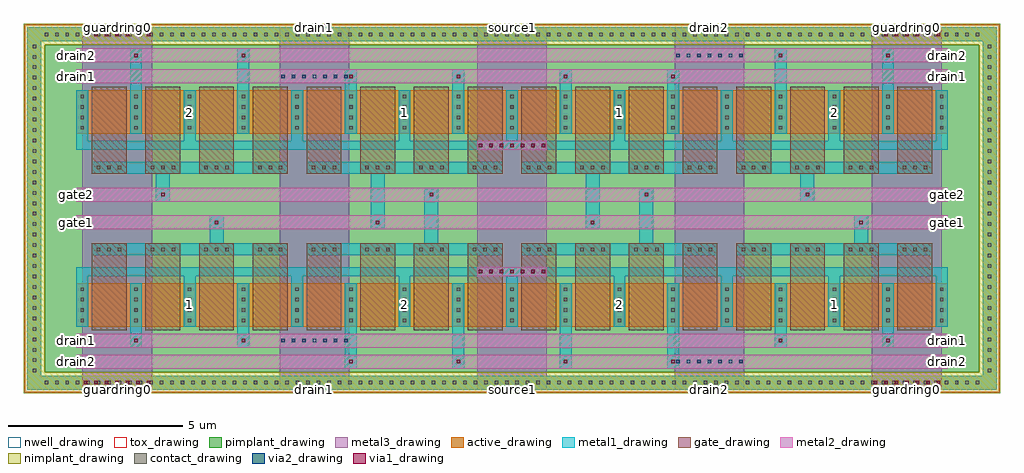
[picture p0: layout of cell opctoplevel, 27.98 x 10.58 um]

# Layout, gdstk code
import gdstk
lib = gdstk.Library(unit=1e-6, precision=1e-09)
def R(c, l, rs):  # rectangles x0, y0, x1, y1
    for r in rs: c.add(gdstk.rectangle(r[:2], r[2:], *l))
def A(c, l, x, y, w, h, nx, ny, dx, dy):  # array of equal rectangles
    R(c, l, [(x+i*dx, y+j*dy, x+i*dx+w, y+j*dy+h) for i in range(nx) for j in range(ny)])
active_drawing = (1, 0)
nwell_drawing = (3, 0)
pimplant_drawing = (4, 0)
nimplant_drawing = (5, 0)
gate_drawing = (6, 0)
contact_drawing = (7, 0)
metal1_drawing = (8, 0)
via1_drawing = (9, 0)
metal2_drawing = (10, 0)
via2_drawing = (11, 0)
metal3_drawing = (12, 0)
tox_drawing = (32, 0)

opctoplevel = lib.new_cell('opctoplevel')
A(opctoplevel, active_drawing, -0.44, 0, 6.5, 1.25, 4, 2, 6.16, 5.53)
R(opctoplevel, active_drawing, [(-1.84,-1.8,25.94,-1.4), (-1.84,-1.8,-1.44,8.58), (25.54,-1.8,25.94,8.58), (-1.84,8.18,25.94,8.58)])
R(opctoplevel, nwell_drawing, [(-1.94,-1.9,26.04,8.68)])
R(opctoplevel, pimplant_drawing, [(-1.34,-1.3,25.44,8.08)])
R(opctoplevel, nimplant_drawing, [(-1.94,-1.9,26.04,-1.3), (-1.94,-1.9,-1.34,8.68), (25.44,-1.9,26.04,8.68), (-1.94,8.08,26.04,8.68)])
A(opctoplevel, gate_drawing, 0, -0.1, 1, 2.49, 16, 2, 1.54, 4.49)
A(opctoplevel, contact_drawing, -1.35, -1.65, 0.1, 0.1, 90, 2, 0.3, 9.98)
A(opctoplevel, contact_drawing, -1.69, -1.31, 0.1, 0.1, 1, 32, 0, 0.3)
A(opctoplevel, contact_drawing, 25.69, -1.31, 0.1, 0.1, 1, 32, 0, 0.3)
A(opctoplevel, contact_drawing, -0.32, 0.125, 0.1, 0.1, 5, 4, 1.54, 0.3)
A(opctoplevel, contact_drawing, 5.84, 0.125, 0.1, 0.1, 5, 4, 1.54, 0.3)
A(opctoplevel, contact_drawing, 12, 0.125, 0.1, 0.1, 5, 4, 1.54, 0.3)
A(opctoplevel, contact_drawing, 18.16, 0.125, 0.1, 0.1, 5, 4, 1.54, 0.3)
A(opctoplevel, contact_drawing, 0.15, 2.17, 0.1, 0.1, 3, 2, 0.3, 2.34)
A(opctoplevel, contact_drawing, 1.69, 2.17, 0.1, 0.1, 3, 2, 0.3, 2.34)
A(opctoplevel, contact_drawing, 3.23, 2.17, 0.1, 0.1, 3, 2, 0.3, 2.34)
A(opctoplevel, contact_drawing, 4.77, 2.17, 0.1, 0.1, 3, 2, 0.3, 2.34)
A(opctoplevel, contact_drawing, 6.31, 2.17, 0.1, 0.1, 3, 2, 0.3, 2.34)
A(opctoplevel, contact_drawing, 7.85, 2.17, 0.1, 0.1, 3, 2, 0.3, 2.34)
A(opctoplevel, contact_drawing, 9.39, 2.17, 0.1, 0.1, 3, 2, 0.3, 2.34)
A(opctoplevel, contact_drawing, 10.93, 2.17, 0.1, 0.1, 3, 2, 0.3, 2.34)
A(opctoplevel, contact_drawing, 12.47, 2.17, 0.1, 0.1, 3, 2, 0.3, 2.34)
A(opctoplevel, contact_drawing, 14.01, 2.17, 0.1, 0.1, 3, 2, 0.3, 2.34)
A(opctoplevel, contact_drawing, 15.55, 2.17, 0.1, 0.1, 3, 2, 0.3, 2.34)
A(opctoplevel, contact_drawing, 17.09, 2.17, 0.1, 0.1, 3, 2, 0.3, 2.34)
A(opctoplevel, contact_drawing, 18.63, 2.17, 0.1, 0.1, 3, 2, 0.3, 2.34)
A(opctoplevel, contact_drawing, 20.17, 2.17, 0.1, 0.1, 3, 2, 0.3, 2.34)
A(opctoplevel, contact_drawing, 21.71, 2.17, 0.1, 0.1, 3, 2, 0.3, 2.34)
A(opctoplevel, contact_drawing, 23.25, 2.17, 0.1, 0.1, 3, 2, 0.3, 2.34)
A(opctoplevel, contact_drawing, -0.32, 5.655, 0.1, 0.1, 5, 4, 1.54, 0.3)
A(opctoplevel, contact_drawing, 5.84, 5.655, 0.1, 0.1, 5, 4, 1.54, 0.3)
A(opctoplevel, contact_drawing, 12, 5.655, 0.1, 0.1, 5, 4, 1.54, 0.3)
A(opctoplevel, contact_drawing, 18.16, 5.655, 0.1, 0.1, 5, 4, 1.54, 0.3)
A(opctoplevel, metal1_drawing, 7.26, -1.2, 0.34, 0.4, 4, 2, 3.08, 8.18)
A(opctoplevel, metal1_drawing, 7.26, -1.2, 0.34, 1.2, 4, 1, 3.08, 0)
A(opctoplevel, metal1_drawing, -0.44, 0, 0.34, 1.25, 5, 2, 1.54, 5.53)
A(opctoplevel, metal1_drawing, 5.72, 0, 0.34, 1.25, 5, 2, 1.54, 5.53)
A(opctoplevel, metal1_drawing, 11.88, 0, 0.34, 1.25, 5, 2, 1.54, 5.53)
A(opctoplevel, metal1_drawing, 18.04, 0, 0.34, 1.25, 5, 2, 1.54, 5.53)
A(opctoplevel, metal1_drawing, -0.44, 1.25, 0.34, 0.2, 3, 2, 3.08, 4.08)
A(opctoplevel, metal1_drawing, 5.72, 1.25, 0.34, 0.2, 3, 2, 3.08, 4.08)
A(opctoplevel, metal1_drawing, 11.88, 1.25, 0.34, 0.2, 3, 2, 3.08, 4.08)
A(opctoplevel, metal1_drawing, 18.04, 1.25, 0.34, 0.2, 3, 2, 3.08, 4.08)
A(opctoplevel, metal1_drawing, -0.44, 1.45, 6.5, 0.26, 4, 2, 6.16, 3.62)
A(opctoplevel, metal1_drawing, 0, 2.05, 5.62, 0.34, 4, 2, 6.16, 2.34)
A(opctoplevel, metal1_drawing, 3.38, 2.05, 0.4, 0.34, 4, 1, 6.16, 0)
A(opctoplevel, metal1_drawing, 1.84, 4.39, 0.4, 0.34, 4, 1, 6.16, 0)
A(opctoplevel, metal1_drawing, 7.26, 6.78, 0.34, 0.6, 4, 1, 3.08, 0)
R(opctoplevel, metal1_drawing, [(-1.84,-1.8,25.94,-1.4), (-1.84,-1.8,-1.44,8.58), (-0.27,-1.8,1.73,-1.4), (22.37,-1.8,24.37,-1.4), (25.54,-1.8,25.94,8.58), (1.1,-0.6,1.44,0), (1.1,-0.6,1.44,-0.2), (4.18,-0.6,4.52,0), (4.18,-0.6,4.52,-0.2), (19.58,-0.6,19.92,0), (19.58,-0.6,19.92,-0.2), (22.66,-0.6,23,0), (22.66,-0.6,23,-0.2), (11.05,1.45,13.05,1.71), (3.38,2.39,3.78,2.79), (9.54,2.39,9.94,3.59), (15.7,2.39,16.1,3.59), (21.86,2.39,22.26,2.79), (3.38,2.79,3.78,3.19), (8,2.79,8.4,3.19), (14.16,2.79,14.56,3.19), (21.86,2.79,22.26,3.19), (8,3.19,8.4,4.39), (14.16,3.19,14.56,4.39), (1.84,3.59,2.24,3.99), (9.54,3.59,9.94,3.99), (15.7,3.59,16.1,3.99), (20.32,3.59,20.72,3.99), (1.84,3.99,2.24,4.39), (20.32,3.99,20.72,4.39), (11.05,5.07,13.05,5.33), (1.1,6.78,1.44,7.98), (4.18,6.78,4.52,7.98), (19.58,6.78,19.92,7.98), (22.66,6.78,23,7.98), (1.1,7.58,1.44,7.98), (4.18,7.58,4.52,7.98), (19.58,7.58,19.92,7.98), (22.66,7.58,23,7.98), (-1.84,8.18,25.94,8.58), (-0.27,8.18,1.73,8.58), (22.37,8.18,24.37,8.58)])
A(opctoplevel, via1_drawing, -0.22, -1.65, 0.1, 0.1, 7, 2, 0.3, 9.98)
A(opctoplevel, via1_drawing, 22.42, -1.65, 0.1, 0.1, 7, 2, 0.3, 9.98)
A(opctoplevel, via1_drawing, 7.38, -1.05, 0.1, 0.1, 4, 2, 3.08, 8.18)
A(opctoplevel, via1_drawing, 11.1, 1.53, 0.1, 0.1, 7, 2, 0.3, 3.62)
R(opctoplevel, via1_drawing, [(1.22,-0.45,1.32,-0.35), (4.3,-0.45,4.4,-0.35), (19.7,-0.45,19.8,-0.35), (22.78,-0.45,22.88,-0.35), (3.53,2.94,3.63,3.04), (8.15,2.94,8.25,3.04), (14.31,2.94,14.41,3.04), (22.01,2.94,22.11,3.04), (1.99,3.74,2.09,3.84), (9.69,3.74,9.79,3.84), (15.85,3.74,15.95,3.84), (20.47,3.74,20.57,3.84), (1.22,7.73,1.32,7.83), (4.3,7.73,4.4,7.83), (19.7,7.73,19.8,7.83), (22.78,7.73,22.88,7.83)])
A(opctoplevel, metal2_drawing, 7.26, -1.2, 0.34, 0.4, 4, 2, 3.08, 8.18)
R(opctoplevel, metal2_drawing, [(-0.27,-1.8,1.73,-1.4), (22.37,-1.8,24.37,-1.4), (-0.44,-1.2,24.54,-0.8), (-0.44,-0.6,24.54,-0.2), (1.1,-0.6,1.44,-0.2), (4.18,-0.6,4.52,-0.2), (19.58,-0.6,19.92,-0.2), (22.66,-0.6,23,-0.2), (11.05,1.45,13.05,1.71), (-0.44,2.79,24.54,3.19), (3.38,2.79,3.78,3.19), (8,2.79,8.4,3.19), (14.16,2.79,14.56,3.19), (21.86,2.79,22.26,3.19), (-0.44,3.59,24.54,3.99), (1.84,3.59,2.24,3.99), (9.54,3.59,9.94,3.99), (15.7,3.59,16.1,3.99), (20.32,3.59,20.72,3.99), (11.05,5.07,13.05,5.33), (-0.44,6.98,24.54,7.38), (-0.44,7.58,24.54,7.98), (1.1,7.58,1.44,7.98), (4.18,7.58,4.52,7.98), (19.58,7.58,19.92,7.98), (22.66,7.58,23,7.98), (-0.27,8.18,1.73,8.58), (22.37,8.18,24.37,8.58)])
A(opctoplevel, via2_drawing, -0.22, -1.65, 0.1, 0.1, 7, 2, 0.3, 9.98)
A(opctoplevel, via2_drawing, 22.42, -1.65, 0.1, 0.1, 7, 2, 0.3, 9.98)
A(opctoplevel, via2_drawing, 16.76, -1.05, 0.1, 0.1, 7, 2, 0.3, 8.78)
A(opctoplevel, via2_drawing, 5.44, -0.45, 0.1, 0.1, 7, 2, 0.3, 7.58)
A(opctoplevel, via2_drawing, 11.1, 1.53, 0.1, 0.1, 7, 2, 0.3, 3.62)
A(opctoplevel, metal3_drawing, -0.27, -1.8, 2, 10.38, 5, 1, 5.66, 0)
R(opctoplevel, metal3_drawing, [(-0.27,-1.8,1.73,-1.4), (22.37,-1.8,24.37,-1.4), (11.05,1.45,13.05,1.71), (11.05,5.07,13.05,5.33), (-0.27,8.18,1.73,8.58), (22.37,8.18,24.37,8.58)])
R(opctoplevel, tox_drawing, [(-1.92,-1.88,26.02,8.66)])
opctoplevel.add(gdstk.Label('1', (2.81,0.625), layer=234, texttype=0))
opctoplevel.add(gdstk.Label('2', (8.97,0.625), layer=234, texttype=0))
opctoplevel.add(gdstk.Label('2', (15.13,0.625), layer=234, texttype=0))
opctoplevel.add(gdstk.Label('1', (21.29,0.625), layer=234, texttype=0))
opctoplevel.add(gdstk.Label('2', (2.81,6.155), layer=234, texttype=0))
opctoplevel.add(gdstk.Label('1', (8.97,6.155), layer=234, texttype=0))
opctoplevel.add(gdstk.Label('1', (15.13,6.155), layer=234, texttype=0))
opctoplevel.add(gdstk.Label('2', (21.29,6.155), layer=234, texttype=0))
opctoplevel.add(gdstk.Label('gate1', (-0.44,2.99), layer=10, texttype=0))
opctoplevel.add(gdstk.Label('gate1', (24.54,2.99), layer=10, texttype=0))
opctoplevel.add(gdstk.Label('gate2', (-0.44,3.79), layer=10, texttype=0))
opctoplevel.add(gdstk.Label('gate2', (24.54,3.79), layer=10, texttype=0))
opctoplevel.add(gdstk.Label('drain1', (-0.44,-0.4), layer=10, texttype=0))
opctoplevel.add(gdstk.Label('drain1', (24.54,-0.4), layer=10, texttype=0))
opctoplevel.add(gdstk.Label('drain2', (-0.44,-1), layer=10, texttype=0))
opctoplevel.add(gdstk.Label('drain2', (24.54,-1), layer=10, texttype=0))
opctoplevel.add(gdstk.Label('drain1', (-0.44,7.18), layer=10, texttype=0))
opctoplevel.add(gdstk.Label('drain1', (24.54,7.18), layer=10, texttype=0))
opctoplevel.add(gdstk.Label('drain2', (-0.44,7.78), layer=10, texttype=0))
opctoplevel.add(gdstk.Label('drain2', (24.54,7.78), layer=10, texttype=0))
opctoplevel.add(gdstk.Label('guardring0', (0.73,-1.8), layer=12, texttype=0))
opctoplevel.add(gdstk.Label('guardring0', (0.73,8.58), layer=12, texttype=0))
opctoplevel.add(gdstk.Label('drain1', (6.39,-1.8), layer=12, texttype=0))
opctoplevel.add(gdstk.Label('drain1', (6.39,8.58), layer=12, texttype=0))
opctoplevel.add(gdstk.Label('source1', (12.05,-1.8), layer=12, texttype=0))
opctoplevel.add(gdstk.Label('source1', (12.05,8.58), layer=12, texttype=0))
opctoplevel.add(gdstk.Label('drain2', (17.71,-1.8), layer=12, texttype=0))
opctoplevel.add(gdstk.Label('drain2', (17.71,8.58), layer=12, texttype=0))
opctoplevel.add(gdstk.Label('guardring0', (23.37,-1.8), layer=12, texttype=0))
opctoplevel.add(gdstk.Label('guardring0', (23.37,8.58), layer=12, texttype=0))

lib.write_gds('opctoplevel.gds')
